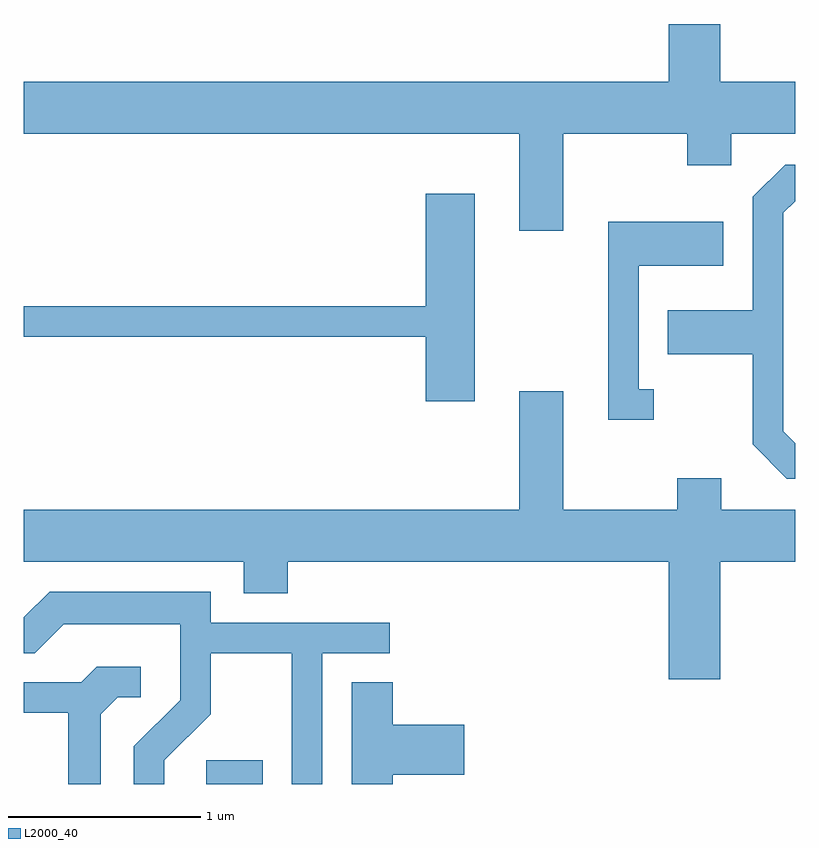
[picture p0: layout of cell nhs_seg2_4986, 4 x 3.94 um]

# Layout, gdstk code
import gdstk
lib = gdstk.Library(unit=1e-6, precision=1e-09)
def R(c, l, rs):  # rectangles x0, y0, x1, y1
    for r in rs: c.add(gdstk.rectangle(r[:2], r[2:], *l))
def P(c, l, *ps):  # polygons
    for p in ps: c.add(gdstk.Polygon(p, *l))
L2000_40 = (2000, 40)

nhs_seg2_4986 = lib.new_cell('nhs_seg2_4986')
R(nhs_seg2_4986, L2000_40, [(332.556,1073.802,332.849,1073.924)])
P(nhs_seg2_4986, L2000_40, [(334.409,1077.176),(335.051,1077.176),(335.051,1077.011),(335.279,1077.011),(335.279,1077.176),(335.611,1077.176),(335.611,1077.444),(335.224,1077.444),(335.224,1077.744),(334.956,1077.744),(334.956,1077.444),(331.611,1077.444),(331.611,1077.176),(334.181,1077.176),(334.181,1076.671),(334.409,1076.671)],
  [(335.611,1075.57),(335.549,1075.632),(335.549,1076.764),(335.611,1076.825),(335.611,1077.014),(335.559,1077.014),(335.391,1076.847),(335.391,1076.259),(334.951,1076.259),(334.951,1076.031),(335.391,1076.031),(335.391,1075.564),(335.569,1075.386),(335.611,1075.386)],
  [(333.949,1076.864),(333.696,1076.864),(333.696,1076.279),(331.611,1076.279),(331.611,1076.121),(333.696,1076.121),(333.696,1075.786),(333.949,1075.786)],
  [(334.878,1075.849),(334.799,1075.849),(334.799,1076.491),(335.239,1076.491),(335.239,1076.719),(334.641,1076.719),(334.641,1075.691),(334.878,1075.691)],
  [(335.224,1074.956),(335.611,1074.956),(335.611,1075.224),(335.229,1075.224),(335.229,1075.389),(335.001,1075.389),(335.001,1075.224),(334.409,1075.224),(334.409,1075.839),(334.181,1075.839),(334.181,1075.224),(331.611,1075.224),(331.611,1074.956),(332.751,1074.956),(332.751,1074.791),(332.979,1074.791),(332.979,1074.956),(334.956,1074.956),(334.956,1074.346),(335.224,1074.346)],
  [(332.339,1073.924),(332.579,1074.164),(332.579,1074.481),(333.001,1074.481),(333.001,1073.802),(333.159,1073.802),(333.159,1074.481),(333.508,1074.481),(333.508,1074.639),(332.579,1074.639),(332.579,1074.799),(331.744,1074.799),(331.611,1074.666),(331.611,1074.481),(331.667,1074.481),(331.817,1074.631),(332.421,1074.631),(332.421,1074.237),(332.181,1073.997),(332.181,1073.802),(332.339,1073.802)],
  [(332.009,1074.164),(332.097,1074.251),(332.218,1074.251),(332.218,1074.409),(331.989,1074.409),(331.909,1074.329),(331.611,1074.329),(331.611,1074.171),(331.841,1074.171),(331.841,1073.802),(332.009,1073.802)],
  [(333.524,1073.851),(333.894,1073.851),(333.894,1074.109),(333.524,1074.109),(333.524,1074.329),(333.311,1074.329),(333.311,1073.802),(333.524,1073.802)])

lib.write_gds('nhs_seg2_4986.gds')
